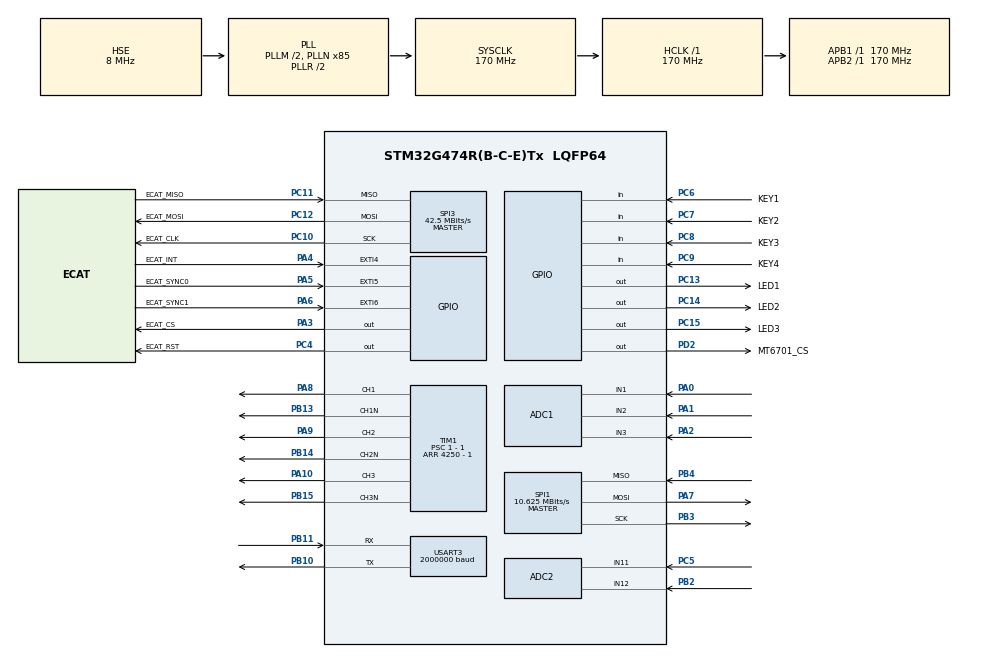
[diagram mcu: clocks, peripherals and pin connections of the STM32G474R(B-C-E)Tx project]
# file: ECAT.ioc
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ADC1.EnableInjectedConversion=ENABLE
ADC1.EnableRegularConversion=DISABLE
ADC1.ExternalTrigInjecConv=ADC_EXTERNALTRIGINJEC_T1_TRGO2
ADC1.InjNumberOfConversion=3
ADC1.InjectedChannel-1\#ChannelInjectedConversion=ADC_CHANNEL_1
ADC1.InjectedChannel-2\#ChannelInjectedConversion=ADC_CHANNEL_2
ADC1.InjectedChannel-3\#ChannelInjectedConversion=ADC_CHANNEL_3
ADC1.InjectedOffsetNumber-1\#ChannelInjectedConversion=ADC_OFFSET_NONE
ADC1.InjectedOffsetNumber-2\#ChannelInjectedConversion=ADC_OFFSET_NONE
ADC1.InjectedOffsetNumber-3\#ChannelInjectedConversion=ADC_OFFSET_NONE
ADC1.InjectedRank-1\#ChannelInjectedConversion=1
ADC1.InjectedRank-2\#ChannelInjectedConversion=2
ADC1.InjectedRank-3\#ChannelInjectedConversion=3
ADC1.InjectedSamplingTime-1\#ChannelInjectedConversion=ADC_SAMPLETIME_2CYCLES_5
ADC1.InjectedSamplingTime-2\#ChannelInjectedConversion=ADC_SAMPLETIME_2CYCLES_5
ADC1.InjectedSamplingTime-3\#ChannelInjectedConversion=ADC_SAMPLETIME_2CYCLES_5
ADC1.Rank4_Channel=ADC_CHANNEL_11
ADC1.master=1
ADC2.Channel-0\#ChannelRegularConversion=ADC_CHANNEL_11
ADC2.Channel-1\#ChannelRegularConversion=ADC_CHANNEL_12
ADC2.DMAContinuousRequests=ENABLE
ADC2.ExternalTrigConv=ADC_EXTERNALTRIG_T6_TRGO
ADC2.NbrOfConversion=2
ADC2.NbrOfConversionFlag=1
ADC2.OffsetNumber-0\#ChannelRegularConversion=ADC_OFFSET_NONE
ADC2.OffsetNumber-1\#ChannelRegularConversion=ADC_OFFSET_NONE
ADC2.Rank-0\#ChannelRegularConversion=1
ADC2.Rank-1\#ChannelRegularConversion=2
ADC2.SamplingTime-0\#ChannelRegularConversion=ADC_SAMPLETIME_2CYCLES_5
ADC2.SamplingTime-1\#ChannelRegularConversion=ADC_SAMPLETIME_2CYCLES_5
Dma.ADC2.4.Direction=DMA_PERIPH_TO_MEMORY
Dma.ADC2.4.EventEnable=DISABLE
Dma.ADC2.4.Instance=DMA1_Channel5
Dma.ADC2.4.MemDataAlignment=DMA_MDATAALIGN_HALFWORD
Dma.ADC2.4.MemInc=DMA_MINC_ENABLE
Dma.ADC2.4.Mode=DMA_CIRCULAR
Dma.ADC2.4.PeriphDataAlignment=DMA_PDATAALIGN_HALFWORD
Dma.ADC2.4.PeriphInc=DMA_PINC_DISABLE
Dma.ADC2.4.Polarity=HAL_DMAMUX_REQ_GEN_RISING
Dma.ADC2.4.Priority=DMA_PRIORITY_LOW
Dma.ADC2.4.RequestNumber=1
Dma.ADC2.4.SignalID=NONE
Dma.ADC2.4.SyncEnable=DISABLE
Dma.ADC2.4.SyncPolarity=HAL_DMAMUX_SYNC_NO_EVENT
Dma.ADC2.4.SyncRequestNumber=1
Dma.ADC2.4.SyncSignalID=NONE
Dma.Request0=SPI1_RX
Dma.Request1=SPI1_TX
Dma.Request2=USART3_RX
Dma.Request3=USART3_TX
Dma.Request4=ADC2
Dma.SPI1_RX.0.Direction=DMA_PERIPH_TO_MEMORY
Dma.SPI1_RX.0.EventEnable=DISABLE
Dma.SPI1_RX.0.Instance=DMA1_Channel1
Dma.SPI1_RX.0.MemDataAlignment=DMA_MDATAALIGN_BYTE
Dma.SPI1_RX.0.MemInc=DMA_MINC_ENABLE
Dma.SPI1_RX.0.Mode=DMA_NORMAL
Dma.SPI1_RX.0.PeriphDataAlignment=DMA_PDATAALIGN_BYTE
Dma.SPI1_RX.0.PeriphInc=DMA_PINC_DISABLE
Dma.SPI1_RX.0.Polarity=HAL_DMAMUX_REQ_GEN_RISING
Dma.SPI1_RX.0.Priority=DMA_PRIORITY_VERY_HIGH
Dma.SPI1_RX.0.RequestNumber=1
Dma.SPI1_RX.0.SignalID=NONE
Dma.SPI1_RX.0.SyncEnable=DISABLE
Dma.SPI1_RX.0.SyncPolarity=HAL_DMAMUX_SYNC_NO_EVENT
Dma.SPI1_RX.0.SyncRequestNumber=1
Dma.SPI1_RX.0.SyncSignalID=NONE
Dma.SPI1_TX.1.Direction=DMA_MEMORY_TO_PERIPH
Dma.SPI1_TX.1.EventEnable=DISABLE
Dma.SPI1_TX.1.Instance=DMA1_Channel2
Dma.SPI1_TX.1.MemDataAlignment=DMA_MDATAALIGN_BYTE
Dma.SPI1_TX.1.MemInc=DMA_MINC_ENABLE
Dma.SPI1_TX.1.Mode=DMA_NORMAL
Dma.SPI1_TX.1.PeriphDataAlignment=DMA_PDATAALIGN_BYTE
Dma.SPI1_TX.1.PeriphInc=DMA_PINC_DISABLE
Dma.SPI1_TX.1.Polarity=HAL_DMAMUX_REQ_GEN_RISING
Dma.SPI1_TX.1.Priority=DMA_PRIORITY_VERY_HIGH
Dma.SPI1_TX.1.RequestNumber=1
Dma.SPI1_TX.1.SignalID=NONE
Dma.SPI1_TX.1.SyncEnable=DISABLE
Dma.SPI1_TX.1.SyncPolarity=HAL_DMAMUX_SYNC_NO_EVENT
Dma.SPI1_TX.1.SyncRequestNumber=1
Dma.SPI1_TX.1.SyncSignalID=NONE
Dma.USART3_RX.2.Direction=DMA_PERIPH_TO_MEMORY
Dma.USART3_RX.2.EventEnable=DISABLE
Dma.USART3_RX.2.Instance=DMA1_Channel3
Dma.USART3_RX.2.MemDataAlignment=DMA_MDATAALIGN_BYTE
Dma.USART3_RX.2.MemInc=DMA_MINC_ENABLE
Dma.USART3_RX.2.Mode=DMA_NORMAL
Dma.USART3_RX.2.PeriphDataAlignment=DMA_PDATAALIGN_BYTE
Dma.USART3_RX.2.PeriphInc=DMA_PINC_DISABLE
Dma.USART3_RX.2.Polarity=HAL_DMAMUX_REQ_GEN_RISING
Dma.USART3_RX.2.Priority=DMA_PRIORITY_LOW
Dma.USART3_RX.2.RequestNumber=1
Dma.USART3_RX.2.SignalID=NONE
Dma.USART3_RX.2.SyncEnable=DISABLE
Dma.USART3_RX.2.SyncPolarity=HAL_DMAMUX_SYNC_NO_EVENT
Dma.USART3_RX.2.SyncRequestNumber=1
Dma.USART3_RX.2.SyncSignalID=NONE
Dma.USART3_TX.3.Direction=DMA_MEMORY_TO_PERIPH
Dma.USART3_TX.3.EventEnable=DISABLE
Dma.USART3_TX.3.Instance=DMA1_Channel4
Dma.USART3_TX.3.MemDataAlignment=DMA_MDATAALIGN_BYTE
Dma.USART3_TX.3.MemInc=DMA_MINC_ENABLE
Dma.USART3_TX.3.Mode=DMA_NORMAL
Dma.USART3_TX.3.PeriphDataAlignment=DMA_PDATAALIGN_BYTE
Dma.USART3_TX.3.PeriphInc=DMA_PINC_DISABLE
Dma.USART3_TX.3.Polarity=HAL_DMAMUX_REQ_GEN_RISING
Dma.USART3_TX.3.Priority=DMA_PRIORITY_LOW
Dma.USART3_TX.3.RequestNumber=1
Dma.USART3_TX.3.SignalID=NONE
Dma.USART3_TX.3.SyncEnable=DISABLE
Dma.USART3_TX.3.SyncPolarity=HAL_DMAMUX_SYNC_NO_EVENT
Dma.USART3_TX.3.SyncRequestNumber=1
Dma.USART3_TX.3.SyncSignalID=NONE
Mcu.Family=STM32G4
Mcu.Name=STM32G474R(B-C-E)Tx
Mcu.Package=LQFP64
NVIC.ADC1_2_IRQn=true\:0\:0\:true\:false\:true\:true\:true\:true
NVIC.DMA1_Channel1_IRQn=true\:1\:0\:true\:false\:true\:false\:true\:true
NVIC.DMA1_Channel2_IRQn=true\:1\:0\:true\:false\:true\:false\:true\:true
NVIC.DMA1_Channel3_IRQn=true\:3\:0\:true\:false\:true\:false\:true\:true
NVIC.DMA1_Channel4_IRQn=true\:3\:0\:true\:false\:true\:false\:true\:true
NVIC.DMA1_Channel5_IRQn=true\:3\:0\:true\:false\:true\:false\:true\:true
NVIC.EXTI4_IRQn=true\:2\:0\:true\:false\:true\:true\:true\:true
NVIC.EXTI9_5_IRQn=true\:2\:0\:true\:false\:true\:true\:true\:true
NVIC.PriorityGroup=NVIC_PRIORITYGROUP_4
NVIC.SPI1_IRQn=true\:1\:0\:true\:false\:true\:true\:true\:true
NVIC.TIM6_DAC_IRQn=true\:2\:0\:true\:false\:true\:true\:true\:true
NVIC.TIM7_DAC_IRQn=true\:2\:0\:true\:false\:true\:true\:true\:true
NVIC.USART3_IRQn=true\:2\:0\:true\:false\:true\:true\:true\:true
PA0.Mode=IN1-Single-Ended
PA0.Signal=ADC1_IN1
PA1.Mode=IN2-Single-Ended
PA1.Signal=ADC1_IN2
PA10.Signal=S_TIM1_CH3
PA13.Mode=Serial_Wire
PA13.Signal=SYS_JTMS-SWDIO
PA14.Mode=Serial_Wire
PA14.Signal=SYS_JTCK-SWCLK
PA2.Mode=IN3-Single-Ended
PA2.Signal=ADC1_IN3
PA3.GPIO_Label=ECAT_CS
PA3.GPIO_PuPd=GPIO_PULLUP
PA3.GPIO_Speed=GPIO_SPEED_FREQ_VERY_HIGH
PA3.PinState=GPIO_PIN_SET
PA3.Signal=GPIO_Output
PA4.GPIO_Label=ECAT_INT
PA4.GPIO_ModeDefaultEXTI=GPIO_MODE_IT_FALLING
PA4.GPIO_PuPd=GPIO_PULLUP
PA4.Signal=GPXTI4
PA5.GPIO_Label=ECAT_SYNC0
PA5.GPIO_ModeDefaultEXTI=GPIO_MODE_IT_FALLING
PA5.GPIO_PuPd=GPIO_PULLUP
PA5.Signal=GPXTI5
PA6.GPIO_Label=ECAT_SYNC1
PA6.GPIO_ModeDefaultEXTI=GPIO_MODE_IT_FALLING
PA6.GPIO_PuPd=GPIO_PULLUP
PA6.Signal=GPXTI6
PA7.Mode=Full_Duplex_Master
PA7.Signal=SPI1_MOSI
PA8.Signal=S_TIM1_CH1
PA9.Signal=S_TIM1_CH2
PB10.Mode=Asynchronous
PB10.Signal=USART3_TX
PB11.Mode=Asynchronous
PB11.Signal=USART3_RX
PB13.Mode=PWM Generation1 CH1 CH1N
PB13.Signal=TIM1_CH1N
PB14.Mode=PWM Generation2 CH2 CH2N
PB14.Signal=TIM1_CH2N
PB15.Mode=PWM Generation3 CH3 CH3N
PB15.Signal=TIM1_CH3N
PB2.Mode=IN12-Single-Ended
PB2.Signal=ADC2_IN12
PB3.Mode=Full_Duplex_Master
PB3.Signal=SPI1_SCK
PB4.Mode=Full_Duplex_Master
PB4.Signal=SPI1_MISO
PC10.GPIO_Label=ECAT_CLK
PC10.GPIO_Speed=GPIO_SPEED_FREQ_VERY_HIGH
PC10.Mode=Full_Duplex_Master
PC10.Signal=SPI3_SCK
PC11.GPIO_Label=ECAT_MISO
PC11.GPIO_Speed=GPIO_SPEED_FREQ_VERY_HIGH
PC11.Mode=Full_Duplex_Master
PC11.Signal=SPI3_MISO
PC12.GPIO_Label=ECAT_MOSI
PC12.GPIO_Speed=GPIO_SPEED_FREQ_VERY_HIGH
PC12.Mode=Full_Duplex_Master
PC12.Signal=SPI3_MOSI
PC13.GPIO_Label=LED1
PC13.GPIO_ModeDefaultOutputPP=GPIO_MODE_OUTPUT_PP
PC13.Signal=GPIO_Output
PC14-OSC32_IN.GPIO_Label=LED2
PC14-OSC32_IN.Signal=GPIO_Output
PC15-OSC32_OUT.GPIO_Label=LED3
PC15-OSC32_OUT.Signal=GPIO_Output
PC4.GPIO_Label=ECAT_RST
PC4.GPIO_PuPd=GPIO_PULLUP
PC4.PinState=GPIO_PIN_RESET
PC4.Signal=GPIO_Output
PC5.Mode=IN11-Single-Ended
PC5.Signal=ADC2_IN11
PC6.GPIO_Label=KEY1
PC6.GPIO_PuPd=GPIO_PULLUP
PC6.Signal=GPIO_Input
PC7.GPIO_Label=KEY2
PC7.GPIO_PuPd=GPIO_PULLUP
PC7.Signal=GPIO_Input
PC8.GPIO_Label=KEY3
PC8.GPIO_PuPd=GPIO_PULLUP
PC8.Signal=GPIO_Input
PC9.GPIO_Label=KEY4
PC9.GPIO_PuPd=GPIO_PULLUP
PC9.Signal=GPIO_Input
PD2.GPIO_Label=MT6701_CS
PD2.Signal=GPIO_Output
PF0-OSC_IN.Mode=HSE-External-Oscillator
PF0-OSC_IN.Signal=RCC_OSC_IN
PF1-OSC_OUT.Mode=HSE-External-Oscillator
PF1-OSC_OUT.Signal=RCC_OSC_OUT
ProjectManager.HeapSize=0x200
ProjectManager.StackSize=0x400
ProjectManager.TargetToolchain=MDK-ARM V5.32
RCC.ADC12Freq_Value=170000000
RCC.ADC345Freq_Value=170000000
RCC.AHBFreq_Value=170000000
RCC.APB1Freq_Value=170000000
RCC.APB1TimFreq_Value=170000000
RCC.APB2Freq_Value=170000000
RCC.APB2TimFreq_Value=170000000
RCC.CortexFreq_Value=170000000
RCC.EXTERNAL_CLOCK_VALUE=12288000
RCC.HCLKFreq_Value=170000000
RCC.HSE_VALUE=8000000
RCC.HSI48_VALUE=48000000
RCC.HSI_VALUE=16000000
RCC.LSE_VALUE=32768
RCC.PLLM=RCC_PLLM_DIV2
RCC.PLLN=85
RCC.PLLSourceVirtual=RCC_PLLSOURCE_HSE
RCC.SYSCLKFreq_VALUE=170000000
RCC.SYSCLKSource=RCC_SYSCLKSOURCE_PLLCLK
RCC.USBFreq_Value=170000000
RCC.VCOOutputFreq_Value=340000000
SH.S_TIM1_CH1.0=TIM1_CH1,PWM Generation1 CH1 CH1N
SH.S_TIM1_CH2.0=TIM1_CH2,PWM Generation2 CH2 CH2N
SH.S_TIM1_CH3.0=TIM1_CH3,PWM Generation3 CH3 CH3N
SPI1.BaudRatePrescaler=SPI_BAUDRATEPRESCALER_16
SPI1.CalculateBaudRate=10.625 MBits/s
SPI1.DataSize=SPI_DATASIZE_8BIT
SPI1.Direction=SPI_DIRECTION_2LINES
SPI1.Mode=SPI_MODE_MASTER
SPI1.VirtualType=VM_MASTER
SPI3.BaudRatePrescaler=SPI_BAUDRATEPRESCALER_4
SPI3.CalculateBaudRate=42.5 MBits/s
SPI3.DataSize=SPI_DATASIZE_8BIT
SPI3.Direction=SPI_DIRECTION_2LINES
SPI3.Mode=SPI_MODE_MASTER
SPI3.VirtualType=VM_MASTER
TIM1.AutoReloadPreload=TIM_AUTORELOAD_PRELOAD_ENABLE
TIM1.Channel-PWM\ Generation1\ CH1\ CH1N=TIM_CHANNEL_1
TIM1.Channel-PWM\ Generation2\ CH2\ CH2N=TIM_CHANNEL_2
TIM1.Channel-PWM\ Generation3\ CH3\ CH3N=TIM_CHANNEL_3
TIM1.Channel-PWM\ Generation4\ No\ Output=TIM_CHANNEL_4
TIM1.ClockDivision=TIM_CLOCKDIVISION_DIV4
TIM1.CounterMode=TIM_COUNTERMODE_CENTERALIGNED1
TIM1.OCMode_PWM-PWM\ Generation1\ CH1\ CH1N=TIM_OCMODE_PWM2
TIM1.OCMode_PWM-PWM\ Generation2\ CH2\ CH2N=TIM_OCMODE_PWM2
TIM1.OCMode_PWM-PWM\ Generation3\ CH3\ CH3N=TIM_OCMODE_PWM2
TIM1.OCMode_PWM-PWM\ Generation4\ No\ Output=TIM_OCMODE_PWM2
TIM1.PeriodNoDither=4250 - 1
TIM1.Prescaler=1 - 1
TIM1.PulseNoDither_4=250
TIM1.RepetitionCounter=1
TIM1.TIM_MasterOutputTrigger=TIM_TRGO_UPDATE
TIM1.TIM_MasterOutputTrigger2=TIM_TRGO2_OC4REF
TIM6.PeriodNoDither=1000 - 1
TIM6.Prescaler=170 - 1
TIM6.TIM_MasterOutputTrigger=TIM_TRGO_UPDATE
TIM7.AutoReloadPreload=TIM_AUTORELOAD_PRELOAD_ENABLE
TIM7.PeriodNoDither=1000 - 1
TIM7.Prescaler=169
USART3.BaudRate=2000000
USART3.VirtualMode-Asynchronous=VM_ASYNC
VP_SYS_VS_DBSignals.Mode=DisableDeadBatterySignals
VP_TIM1_VS_ClockSourceINT.Mode=Internal
VP_TIM6_VS_ClockSourceINT.Mode=Enable_Timer
VP_TIM7_VS_ClockSourceINT.Mode=Enable_Timer
board=custom

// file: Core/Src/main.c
/* USER CODE BEGIN Header */
/**
  ******************************************************************************
  * @file           : main.c
  * @brief          : Main program body
  ******************************************************************************
  * @attention
  *
  * Copyright (c) 2026 STMicroelectronics.
  * All rights reserved.
  *
  * This software is licensed under terms that can be found in the LICENSE file
  * in the root directory of this software component.
  * If no LICENSE file comes with this software, it is provided AS-IS.
  *
  ******************************************************************************
  */
/* USER CODE END Header */
#include "main.h"
#include "adc.h"
#include "dma.h"
#include "spi.h"
#include "tim.h"
#include "usart.h"
#include "gpio.h"

/* USER CODE BEGIN Includes */
#include "applInterface.h"
#include "FOC.h"
#include "UserData_Function.h"
/* USER CODE END Includes */

void SystemClock_Config(void);

int main(void)
{

  /* MCU Configuration--------------------------------------------------------*/

  /* Reset of all peripherals, Initializes the Flash interface and the Systick. */
  HAL_Init();

  /* Configure the system clock */
  SystemClock_Config();

  /* Initialize all configured peripherals */
  MX_GPIO_Init();
  MX_DMA_Init();
  MX_SPI3_Init();
  MX_TIM7_Init();
  MX_ADC1_Init();
  MX_SPI1_Init();
  MX_TIM1_Init();
  MX_USART3_UART_Init();
  MX_TIM6_Init();
  MX_ADC2_Init();
  /* USER CODE BEGIN 2 */
  /* Keep LAN9252 reset and its interrupts masked during the lengthy FOC
     alignment/calibration.  TwinCAT must not see a slave whose SSC main loop
     is not running yet. */
  HAL_NVIC_DisableIRQ(ECAT_INT_EXTI_IRQn);
  HAL_NVIC_DisableIRQ(EXTI9_5_IRQn);
  HAL_GPIO_WritePin(ECAT_RST_GPIO_Port, ECAT_RST_Pin, GPIO_PIN_RESET);

  HAL_ADCEx_Calibration_Start(&hadc2, ADC_SINGLE_ENDED);

  /* ADC2首笔DMA结果到达前，禁止状态机把BSS初值0V误判为欠压。 */
  FOC.foc.Real_VBUS = -9999.0f;

	if (HAL_ADC_Start_DMA(&hadc2, (uint32_t *)FOC.adc2.ADC2_Values, ADC2_CH_NUM) != HAL_OK)
    {
        Error_Handler();
    }

	FOC_Init();

  /* PDO integration stage 1: keep the power stage inhibited while PDO command
     and feedback layout is validated in TwinCAT.  The FOC sampling and
     calculations continue, but EtherCAT cannot enable the motor yet. */
  FOC.foc.Target_Speed = 0.0f;
  FOC.foc.Target_Iq = 0.0f;
  User_Disable_Motor();

	/* TIM6既触发ADC2规则组，也以1 kHz运行速度环/位置环和状态机。 */
	if (HAL_TIM_Base_Start_IT(&htim6) != HAL_OK)
	{
		Error_Handler();
	}

  /* FOC is ready; now expose and initialize the EtherCAT slave. */
  HAL_GPIO_WritePin(ECAT_RST_GPIO_Port, ECAT_RST_Pin, GPIO_PIN_SET);
  HAL_Delay(100);

  if (HW_Init() != 0U)
  {
    Error_Handler();
  }

  if (MainInit() != 0U)
  {
    Error_Handler();
  }

  /* TIM7 supplies the 1 ms SSC time base. */
  if (HAL_TIM_Base_Start_IT(&htim7) != HAL_OK)
  {
    Error_Handler();
  }

  __HAL_GPIO_EXTI_CLEAR_IT(ECAT_INT_Pin);
  __HAL_GPIO_EXTI_CLEAR_IT(ECAT_SYNC0_Pin);
  __HAL_GPIO_EXTI_CLEAR_IT(ECAT_SYNC1_Pin);
  HAL_NVIC_EnableIRQ(ECAT_INT_EXTI_IRQn);
  HAL_NVIC_EnableIRQ(EXTI9_5_IRQn);
  /* USER CODE END 2 */

  /* Infinite loop */
  while (1)
  {

    /* USER CODE BEGIN 3 */
    MainLoop();
//	Printf_Normal_Loop(&FOC);
  }
  /* USER CODE END 3 */
}

void SystemClock_Config(void)
{
  RCC_OscInitTypeDef RCC_OscInitStruct = {0};
  RCC_ClkInitTypeDef RCC_ClkInitStruct = {0};

  /** Configure the main internal regulator output voltage
  */
  HAL_PWREx_ControlVoltageScaling(PWR_REGULATOR_VOLTAGE_SCALE1_BOOST);

  /** Initializes the RCC Oscillators according to the specified parameters
  * in the RCC_OscInitTypeDef structure.
  */
  RCC_OscInitStruct.OscillatorType = RCC_OSCILLATORTYPE_HSE;
  RCC_OscInitStruct.HSEState = RCC_HSE_ON;
  RCC_OscInitStruct.PLL.PLLState = RCC_PLL_ON;
  RCC_OscInitStruct.PLL.PLLSource = RCC_PLLSOURCE_HSE;
  RCC_OscInitStruct.PLL.PLLM = RCC_PLLM_DIV2;
  RCC_OscInitStruct.PLL.PLLN = 85;
  RCC_OscInitStruct.PLL.PLLP = RCC_PLLP_DIV2;
  RCC_OscInitStruct.PLL.PLLQ = RCC_PLLQ_DIV2;
  RCC_OscInitStruct.PLL.PLLR = RCC_PLLR_DIV2;
  if (HAL_RCC_OscConfig(&RCC_OscInitStruct) != HAL_OK)
  {
    Error_Handler();
  }

  /** Initializes the CPU, AHB and APB buses clocks
  */
  RCC_ClkInitStruct.ClockType = RCC_CLOCKTYPE_HCLK|RCC_CLOCKTYPE_SYSCLK
                              |RCC_CLOCKTYPE_PCLK1|RCC_CLOCKTYPE_PCLK2;
  RCC_ClkInitStruct.SYSCLKSource = RCC_SYSCLKSOURCE_PLLCLK;
  RCC_ClkInitStruct.AHBCLKDivider = RCC_SYSCLK_DIV1;
  RCC_ClkInitStruct.APB1CLKDivider = RCC_HCLK_DIV1;
  RCC_ClkInitStruct.APB2CLKDivider = RCC_HCLK_DIV1;

  if (HAL_RCC_ClockConfig(&RCC_ClkInitStruct, FLASH_LATENCY_4) != HAL_OK)
  {
    Error_Handler();
  }
}

void Error_Handler(void)
{
  __disable_irq();
  while (1)
  {
  }
}
